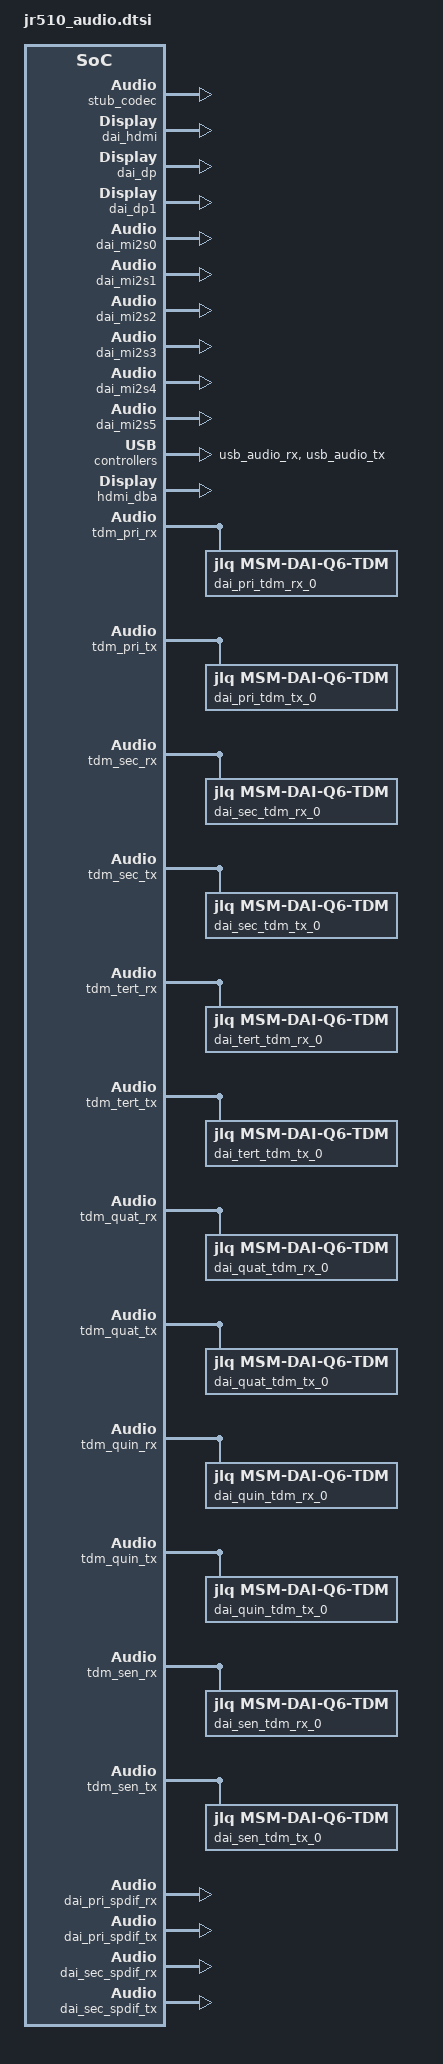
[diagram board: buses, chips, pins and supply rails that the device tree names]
&soc {
	clkout3_clk: clkout3_clk {
		status = "disabled";
		compatible = "jlq,clk-gate";
		#clock-cells = <0>;
		//clocks = <&clkout3_srcmux>;
		//jlq,clkgt = <DDRPWR_COMPONENT_CLKEN2
		//	PWR_BIT_SFT(8) PWR_WEBIT_DEF(8)>;
		//set_rate_parent;
		//clock-output-names = "clkout3_clk";
	};

	bolero: bolero-cdc {
		compatible = "jlq,bolero-codec";
		status = "disabled";
		jlq,num-macros = <3>;
		jlq,bolero-version = <5>;
		#address-cells = <2>;
		#size-cells = <0>;
		bolero-clk-rsc-mngr {
			compatible = "jlq,bolero-clk-rsc-mngr";
			jlq,fs-gen-sequence = <0x3000 0x1>,
						<0x3004 0x1>, <0x3080 0x2>;
			clock-names = "tx_core_clk", "tx_npl_clk", "rx_core_clk", "rx_npl_clk",
				"va_core_clk", "va_npl_clk";
			clocks = <&clkout3_clk>, <&clkout3_clk>,
				<&clkout3_clk>, <&clkout3_clk>,
				<&clkout3_clk>, <&clkout3_clk>;
		};

		tx_macro: tx-macro {
			compatible = "jlq,tx-macro";
			reg = <0x0 0x42000000>;
			clock-names = "tx_core_clk", "tx_npl_clk";
			clocks = <&clkout3_clk>,
				 <&clkout3_clk>;
			jlq,tx-dmic-sample-rate = <2400000>;
			jlq,is-used-swr-gpio = <0>;
		};

		rx_macro: rx-macro {
			compatible = "jlq,rx-macro";
			reg = <0x0 0x42000000>;
			clock-names = "rx_core_clk", "rx_npl_clk";
			clocks = <&clkout3_clk>,
				 <&clkout3_clk>;
			jlq,rx-swr-gpios = <&gpio 12 0>;
			jlq,rx_mclk_mode_muxsel = <04210000>;
			jlq,rx-bcl-pmic-params = /bits/ 8 <0x00 0x04 0x3E>;
			jlq,default-clk-id = <1>;
			swr1: rx_swr_master {
				compatible = "jlq,swr-mstr";
				#address-cells = <2>;
				#size-cells = <0>;
				clock-names = "lpass_audio_hw_vote";
				clocks = <&clkout3_clk>;
				jlq,swr_master_id = <2>;
				jlq,swrm-hctl-reg = <0x04210004>;
				jlq,mipi-sdw-block-packing-mode = <1>;
				swrm-io-base = <0x04210008 0x0>;
				//interrupt-parent = <&top_mailbox_irq>;
				interrupts = <8 0>;
				interrupt-names = "swr_master_irq";
				jlq,swr-num-ports = <5>;
				jlq,swr-num-dev = <1>;
				jlq,swr-clock-stop-mode0 = <1>;
				wcd937x_rx_slave: wcd937x-rx-slave {
					compatible = "jlq,wcd937x-slave";
					reg = <0x04210008 0x0421000c>;
				};
			};
		};

		va_macro: va-macro@ {
			compatible = "jlq,va-macro";
			reg = <0x0 0x42000000>;
			clock-names = "lpass_audio_hw_vote";
			clocks = <&clkout3_clk>;
			jlq,va-dmic-sample-rate = <600000>;
			jlq,va-clk-mux-select = <1>;
			jlq,va-island-mode-muxsel = <0x0a7a0000>;
			jlq,default-clk-id = <1>;
			jlq,is-used-swr-gpio = <1>;
			jlq,va-swr-gpios = <&gpio 12 0>;
			swr0: va_swr_master {
				compatible = "jlq,swr-mstr";
				#address-cells = <2>;
				#size-cells = <0>;
				clock-names = "lpass_audio_hw_vote";
				clocks = <&clkout3_clk>;
				jlq,swr_master_id = <3>;
				jlq,swrm-hctl-reg = <0x0a7ec100>;
				jlq,mipi-sdw-block-packing-mode = <1>;
				swrm-io-base = <0xa740000 0x0>;
				//interrupt-parent = <&top_mailbox_irq>;
				interrupts = <9 0>, <10 0>;
				interrupt-names = "swr_master_irq", "swr_wake_irq";
				jlq,swr-wakeup-required = <1>;
				jlq,swr-num-ports = <3>;
				jlq,swr-num-dev = <1>;
				jlq,swr-clock-stop-mode0 = <1>;
				jlq,swr-mstr-irq-wakeup-capable = <1>;
				wcd937x_tx_slave: wcd937x-tx-slave {
					compatible = "jlq,wcd937x-slave";
					reg = <0x0A 0x01170223>;
				};
			};
		};

		wcd937x_codec: wcd937x-codec {
			compatible = "jlq,wcd937x-codec";
			jlq,split-codec = <1>;

			jlq,wcd-rst-gpio-node = <&gpio 12 0>;
			jlq,rx-slave = <&wcd937x_rx_slave>;
			jlq,tx-slave = <&wcd937x_tx_slave>;

			//cdc-vdd-rxtx-supply = <&L9A>;
			jlq,cdc-vdd-rxtx-voltage = <1800000 1800000>;
			jlq,cdc-vdd-rxtx-current = <10000>;

			//cdc-vddpx-supply = <&L9A>;
			jlq,cdc-vddpx-voltage = <1800000 1800000>;
			jlq,cdc-vddpx-current = <20000>;

			//cdc-vdd-buck-supply = <&L14A>;
			jlq,cdc-vdd-buck-voltage = <1800000 1800000>;
			jlq,cdc-vdd-buck-current = <650000>;

			jlq,cdc-micbias1-mv = <1800>;
			jlq,cdc-micbias2-mv = <1800>;
			jlq,cdc-micbias3-mv = <1800>;

			jlq,cdc-static-supplies = "cdc-vdd-rxtx",
						   "cdc-vddpx";
			jlq,cdc-on-demand-supplies = "cdc-vdd-buck";
		};
	};

	pcm0: jlq,msm-pcm {
		compatible = "jlq,msm-pcm-dsp";
		jlq,msm-pcm-dsp-id = <0>;
	};

	routing: jlq,msm-pcm-routing {
		compatible = "jlq,msm-pcm-routing";
	};

	compr: jlq,msm-compr-dsp {
		compatible = "jlq,msm-compr-dsp";
	};

	pcm1: jlq,msm-pcm-low-latency {
		compatible = "jlq,msm-pcm-dsp";
		jlq,msm-pcm-dsp-id = <1>;
		jlq,msm-pcm-low-latency;
		jlq,latency-level = "regular";
	};

	pcm2: jlq,msm-ultra-low-latency {
		compatible = "jlq,msm-pcm-dsp";
		jlq,msm-pcm-dsp-id = <2>;
		jlq,msm-pcm-low-latency;
		jlq,latency-level = "ultra";
	};

	pcm_noirq: jlq,msm-pcm-dsp-noirq {
		compatible = "jlq,msm-pcm-dsp-noirq";
		jlq,msm-pcm-low-latency;
		jlq,latency-level = "ultra";
	};

	trans_loopback: jlq,msm-transcode-loopback {
		compatible = "jlq,msm-transcode-loopback";
	};

	compress: jlq,msm-compress-dsp {
		compatible = "jlq,msm-compress-dsp";
	};

	voip: jlq,msm-voip-dsp {
		compatible = "jlq,msm-voip-dsp";
	};

	voice: jlq,msm-pcm-voice {
		compatible = "jlq,msm-pcm-voice";
		jlq,destroy-cvd;
	};

	stub_codec: jlq,msm-stub-codec {
		compatible = "jlq,msm-stub-codec";
	};

	jlq,msm-dai-fe {
		compatible = "jlq,msm-dai-fe";
	};

	afe: jlq,msm-pcm-afe {
		compatible = "jlq,msm-pcm-afe";
	};

	dai_hdmi: jlq,msm-dai-q6-hdmi {
		compatible = "jlq,msm-dai-q6-hdmi";
		jlq,msm-dai-q6-dev-id = <8>;
	};

	dai_dp: jlq,msm-dai-q6-dp {
		compatible = "jlq,msm-dai-q6-hdmi";
		jlq,msm-dai-q6-dev-id = <0>;
	};

	dai_dp1: jlq,msm-dai-q6-dp1 {
		compatible = "jlq,msm-dai-q6-hdmi";
		jlq,msm-dai-q6-dev-id = <1>;
	};

	loopback: jlq,msm-pcm-loopback {
		compatible = "jlq,msm-pcm-loopback";
	};

	loopback1: jlq,msm-pcm-loopback-low-latency {
		compatible = "jlq,msm-pcm-loopback";
		jlq,msm-pcm-loopback-low-latency;
	};

	pcm_dtmf: jlq,msm-pcm-dtmf {
		compatible = "jlq,msm-pcm-dtmf";
	};

	msm_dai_mi2s: jlq,msm-dai-mi2s {
		compatible = "jlq,msm-dai-mi2s";
		dai_mi2s0: jlq,msm-dai-q6-mi2s-prim {
			compatible = "jlq,msm-dai-q6-mi2s";
			jlq,msm-dai-q6-mi2s-dev-id = <0>;
			jlq,msm-mi2s-rx-lines = <3>;
			jlq,msm-mi2s-tx-lines = <0>;
		};

		dai_mi2s1: jlq,msm-dai-q6-mi2s-sec {
			compatible = "jlq,msm-dai-q6-mi2s";
			jlq,msm-dai-q6-mi2s-dev-id = <1>;
			jlq,msm-mi2s-rx-lines = <1>;
			jlq,msm-mi2s-tx-lines = <0>;
		};

		dai_mi2s2: jlq,msm-dai-q6-mi2s-tert {
			compatible = "jlq,msm-dai-q6-mi2s";
			jlq,msm-dai-q6-mi2s-dev-id = <2>;
			jlq,msm-mi2s-rx-lines = <0>;
			jlq,msm-mi2s-tx-lines = <3>;
		};

		dai_mi2s3: jlq,msm-dai-q6-mi2s-quat {
			compatible = "jlq,msm-dai-q6-mi2s";
			jlq,msm-dai-q6-mi2s-dev-id = <3>;
			jlq,msm-mi2s-rx-lines = <1>;
			jlq,msm-mi2s-tx-lines = <2>;
		};

		dai_mi2s4: jlq,msm-dai-q6-mi2s-quin {
			compatible = "jlq,msm-dai-q6-mi2s";
			jlq,msm-dai-q6-mi2s-dev-id = <4>;
			jlq,msm-mi2s-rx-lines = <1>;
			jlq,msm-mi2s-tx-lines = <2>;
		};

		dai_mi2s5: jlq,msm-dai-q6-mi2s-senary {
			compatible = "jlq,msm-dai-q6-mi2s";
			jlq,msm-dai-q6-mi2s-dev-id = <5>;
			jlq,msm-mi2s-rx-lines = <0>;
			jlq,msm-mi2s-tx-lines = <3>;
		};
	};

	msm_dai_cdc_dma: jlq,msm-dai-cdc-dma {
		compatible = "jlq,msm-dai-cdc-dma";
		wsa_cdc_dma_0_rx: jlq,msm-dai-wsa-cdc-dma-0-rx {
			compatible = "jlq,msm-dai-cdc-dma-dev";
			jlq,msm-dai-cdc-dma-dev-id = <45056>;
		};

		wsa_cdc_dma_0_tx: jlq,msm-dai-wsa-cdc-dma-0-tx {
			compatible = "jlq,msm-dai-cdc-dma-dev";
			jlq,msm-dai-cdc-dma-dev-id = <45057>;
		};

		wsa_cdc_dma_1_rx: jlq,msm-dai-wsa-cdc-dma-1-rx {
			compatible = "jlq,msm-dai-cdc-dma-dev";
			jlq,msm-dai-cdc-dma-dev-id = <45058>;
		};

		wsa_cdc_dma_1_tx: jlq,msm-dai-wsa-cdc-dma-1-tx {
			compatible = "jlq,msm-dai-cdc-dma-dev";
			jlq,msm-dai-cdc-dma-dev-id = <45059>;
		};

		wsa_cdc_dma_2_tx: jlq,msm-dai-wsa-cdc-dma-2-tx {
			compatible = "jlq,msm-dai-cdc-dma-dev";
			jlq,msm-dai-cdc-dma-dev-id = <45061>;
		};

		va_cdc_dma_0_tx: jlq,msm-dai-va-cdc-dma-0-tx {
			compatible = "jlq,msm-dai-cdc-dma-dev";
			jlq,msm-dai-cdc-dma-dev-id = <45089>;
		};

		va_cdc_dma_1_tx: jlq,msm-dai-va-cdc-dma-1-tx {
			compatible = "jlq,msm-dai-cdc-dma-dev";
			jlq,msm-dai-cdc-dma-dev-id = <45091>;
		};

		va_cdc_dma_2_tx: jlq,msm-dai-va-cdc-dma-2-tx {
			compatible = "jlq,msm-dai-cdc-dma-dev";
			jlq,msm-dai-cdc-dma-dev-id = <45093>;
		};

		rx_cdc_dma_0_rx: jlq,msm-dai-rx-cdc-dma-0-rx {
			compatible = "jlq,msm-dai-cdc-dma-dev";
			jlq,msm-dai-cdc-dma-dev-id = <45104>;
		};

		rx_cdc_dma_1_rx: jlq,msm-dai-rx-cdc-dma-1-rx {
			compatible = "jlq,msm-dai-cdc-dma-dev";
			jlq,msm-dai-cdc-dma-dev-id = <45106>;
		};

		rx_cdc_dma_2_rx: jlq,msm-dai-rx-cdc-dma-2-rx {
			compatible = "jlq,msm-dai-cdc-dma-dev";
			jlq,msm-dai-cdc-dma-dev-id = <45108>;
		};

		rx_cdc_dma_3_rx: jlq,msm-dai-rx-cdc-dma-3-rx {
			compatible = "jlq,msm-dai-cdc-dma-dev";
			jlq,msm-dai-cdc-dma-dev-id = <45110>;
		};

		rx_cdc_dma_4_rx: jlq,msm-dai-rx-cdc-dma-4-rx {
			compatible = "jlq,msm-dai-cdc-dma-dev";
			jlq,msm-dai-cdc-dma-dev-id = <45112>;
		};

		rx_cdc_dma_5_rx: jlq,msm-dai-rx-cdc-dma-5-rx {
			compatible = "jlq,msm-dai-cdc-dma-dev";
			jlq,msm-dai-cdc-dma-dev-id = <45114>;
		};

		rx_cdc_dma_6_rx: jlq,msm-dai-rx-cdc-dma-6-rx {
			compatible = "jlq,msm-dai-cdc-dma-dev";
			jlq,msm-dai-cdc-dma-dev-id = <45116>;
		};

		rx_cdc_dma_7_rx: jlq,msm-dai-rx-cdc-dma-7-rx {
			compatible = "jlq,msm-dai-cdc-dma-dev";
			jlq,msm-dai-cdc-dma-dev-id = <45118>;
		};

		tx_cdc_dma_0_tx: jlq,msm-dai-tx-cdc-dma-0-tx {
			compatible = "jlq,msm-dai-cdc-dma-dev";
			jlq,msm-dai-cdc-dma-dev-id = <45105>;
		};

		tx_cdc_dma_1_tx: jlq,msm-dai-tx-cdc-dma-1-tx {
			compatible = "jlq,msm-dai-cdc-dma-dev";
			jlq,msm-dai-cdc-dma-dev-id = <45107>;
		};

		tx_cdc_dma_2_tx: jlq,msm-dai-tx-cdc-dma-2-tx {
			compatible = "jlq,msm-dai-cdc-dma-dev";
			jlq,msm-dai-cdc-dma-dev-id = <45109>;
		};

		tx_cdc_dma_3_tx: jlq,msm-dai-tx-cdc-dma-3-tx {
			compatible = "jlq,msm-dai-cdc-dma-dev";
			jlq,msm-dai-cdc-dma-dev-id = <45111>;
		};

		tx_cdc_dma_4_tx: jlq,msm-dai-tx-cdc-dma-4-tx {
			compatible = "jlq,msm-dai-cdc-dma-dev";
			jlq,msm-dai-cdc-dma-dev-id = <45113>;
		};

		tx_cdc_dma_5_tx: jlq,msm-dai-tx-cdc-dma-5-tx {
			compatible = "jlq,msm-dai-cdc-dma-dev";
			jlq,msm-dai-cdc-dma-dev-id = <45115>;
		};
	};

	lsm: jlq,msm-lsm-client {
		compatible = "jlq,msm-lsm-client";
	};

	jlq,msm-dai-q6 {
		compatible = "jlq,msm-dai-q6";
		sb_7_rx: jlq,msm-dai-q6-sb-7-rx {
			compatible = "jlq,msm-dai-q6-dev";
			jlq,msm-dai-q6-dev-id = <16398>;
			jlq,msm-dai-q6-slim-dev-id = <0>;
		};

		sb_7_tx: jlq,msm-dai-q6-sb-7-tx {
			compatible = "jlq,msm-dai-q6-dev";
			jlq,msm-dai-q6-dev-id = <16399>;
			jlq,msm-dai-q6-slim-dev-id = <0>;
		};

		sb_8_tx: jlq,msm-dai-q6-sb-8-tx {
			compatible = "jlq,msm-dai-q6-dev";
			jlq,msm-dai-q6-dev-id = <16401>;
			jlq,msm-dai-q6-slim-dev-id = <0>;
		};

		bt_sco_rx: jlq,msm-dai-q6-bt-sco-rx {
			compatible = "jlq,msm-dai-q6-dev";
			jlq,msm-dai-q6-dev-id = <12288>;
		};

		bt_sco_tx: jlq,msm-dai-q6-bt-sco-tx {
			compatible = "jlq,msm-dai-q6-dev";
			jlq,msm-dai-q6-dev-id = <12289>;
		};

		int_fm_rx: jlq,msm-dai-q6-int-fm-rx {
			compatible = "jlq,msm-dai-q6-dev";
			jlq,msm-dai-q6-dev-id = <12292>;
		};

		int_fm_tx: jlq,msm-dai-q6-int-fm-tx {
			compatible = "jlq,msm-dai-q6-dev";
			jlq,msm-dai-q6-dev-id = <12293>;
		};

		afe_pcm_rx: jlq,msm-dai-q6-be-afe-pcm-rx {
			compatible = "jlq,msm-dai-q6-dev";
			jlq,msm-dai-q6-dev-id = <224>;
		};

		afe_pcm_tx: jlq,msm-dai-q6-be-afe-pcm-tx {
			compatible = "jlq,msm-dai-q6-dev";
			jlq,msm-dai-q6-dev-id = <225>;
		};

		afe_proxy_rx: jlq,msm-dai-q6-afe-proxy-rx {
			compatible = "jlq,msm-dai-q6-dev";
			jlq,msm-dai-q6-dev-id = <241>;
		};

		afe_proxy_tx: jlq,msm-dai-q6-afe-proxy-tx {
			compatible = "jlq,msm-dai-q6-dev";
			jlq,msm-dai-q6-dev-id = <240>;
		};

		incall_record_rx: jlq,msm-dai-q6-incall-record-rx {
			compatible = "jlq,msm-dai-q6-dev";
			jlq,msm-dai-q6-dev-id = <32771>;
		};

		incall_record_tx: jlq,msm-dai-q6-incall-record-tx {
			compatible = "jlq,msm-dai-q6-dev";
			jlq,msm-dai-q6-dev-id = <32772>;
		};

		incall_music_rx: jlq,msm-dai-q6-incall-music-rx {
			compatible = "jlq,msm-dai-q6-dev";
			jlq,msm-dai-q6-dev-id = <32773>;
		};

		incall_music_2_rx: jlq,msm-dai-q6-incall-music-2-rx {
			compatible = "jlq,msm-dai-q6-dev";
			jlq,msm-dai-q6-dev-id = <32770>;
		};

		usb_audio_rx: jlq,msm-dai-q6-usb-audio-rx {
			compatible = "jlq,msm-dai-q6-dev";
			jlq,msm-dai-q6-dev-id = <28672>;
		};

		usb_audio_tx: jlq,msm-dai-q6-usb-audio-tx {
			compatible = "jlq,msm-dai-q6-dev";
			jlq,msm-dai-q6-dev-id = <28673>;
		};
	};

	hostless: jlq,msm-pcm-hostless {
		compatible = "jlq,msm-pcm-hostless";
	};

	audio_apr: jlq,msm-audio-apr {
		compatible = "jlq,msm-audio-apr";
		jlq,subsys-name = "apr_adsp";
	};

	msm_audio_ion: jlq,msm-audio-ion {
		compatible = "jlq,msm-audio-ion";
		jlq,smmu-version = <2>;
		jlq,smmu-enabled;
	};

	dai_pri_auxpcm: jlq,msm-pri-auxpcm {
		compatible = "jlq,msm-auxpcm-dev";
		jlq,msm-cpudai-auxpcm-mode = <0>, <0>;
		jlq,msm-cpudai-auxpcm-sync = <1>, <1>;
		jlq,msm-cpudai-auxpcm-frame = <5>, <4>;
		jlq,msm-cpudai-auxpcm-quant = <2>, <2>;
		jlq,msm-cpudai-auxpcm-num-slots = <1>, <1>;
		jlq,msm-cpudai-auxpcm-slot-mapping = <1>, <1>;
		jlq,msm-cpudai-auxpcm-data = <0>, <0>;
		jlq,msm-cpudai-auxpcm-pcm-clk-rate = <2048000>, <2048000>;
		jlq,msm-auxpcm-interface = "primary";
		jlq,msm-cpudai-afe-clk-ver = <2>;
	};

	dai_sec_auxpcm: jlq,msm-sec-auxpcm {
		compatible = "jlq,msm-auxpcm-dev";
		jlq,msm-cpudai-auxpcm-mode = <0>, <0>;
		jlq,msm-cpudai-auxpcm-sync = <1>, <1>;
		jlq,msm-cpudai-auxpcm-frame = <5>, <4>;
		jlq,msm-cpudai-auxpcm-quant = <2>, <2>;
		jlq,msm-cpudai-auxpcm-num-slots = <1>, <1>;
		jlq,msm-cpudai-auxpcm-slot-mapping = <1>, <1>;
		jlq,msm-cpudai-auxpcm-data = <0>, <0>;
		jlq,msm-cpudai-auxpcm-pcm-clk-rate = <2048000>, <2048000>;
		jlq,msm-auxpcm-interface = "secondary";
		jlq,msm-cpudai-afe-clk-ver = <2>;
	};

	dai_tert_auxpcm: jlq,msm-tert-auxpcm {
		compatible = "jlq,msm-auxpcm-dev";
		jlq,msm-cpudai-auxpcm-mode = <0>, <0>;
		jlq,msm-cpudai-auxpcm-sync = <1>, <1>;
		jlq,msm-cpudai-auxpcm-frame = <5>, <4>;
		jlq,msm-cpudai-auxpcm-quant = <2>, <2>;
		jlq,msm-cpudai-auxpcm-num-slots = <1>, <1>;
		jlq,msm-cpudai-auxpcm-slot-mapping = <1>, <1>;
		jlq,msm-cpudai-auxpcm-data = <0>, <0>;
		jlq,msm-cpudai-auxpcm-pcm-clk-rate = <2048000>, <2048000>;
		jlq,msm-auxpcm-interface = "tertiary";
		jlq,msm-cpudai-afe-clk-ver = <2>;
	};

	dai_quat_auxpcm: jlq,msm-quat-auxpcm {
		compatible = "jlq,msm-auxpcm-dev";
		jlq,msm-cpudai-auxpcm-mode = <0>, <0>;
		jlq,msm-cpudai-auxpcm-sync = <1>, <1>;
		jlq,msm-cpudai-auxpcm-frame = <5>, <4>;
		jlq,msm-cpudai-auxpcm-quant = <2>, <2>;
		jlq,msm-cpudai-auxpcm-num-slots = <1>, <1>;
		jlq,msm-cpudai-auxpcm-slot-mapping = <1>, <1>;
		jlq,msm-cpudai-auxpcm-data = <0>, <0>;
		jlq,msm-cpudai-auxpcm-pcm-clk-rate = <2048000>, <2048000>;
		jlq,msm-auxpcm-interface = "quaternary";
		jlq,msm-cpudai-afe-clk-ver = <2>;
	};

	dai_quin_auxpcm: jlq,msm-quin-auxpcm {
		compatible = "jlq,msm-auxpcm-dev";
		jlq,msm-cpudai-auxpcm-mode = <0>, <0>;
		jlq,msm-cpudai-auxpcm-sync = <1>, <1>;
		jlq,msm-cpudai-auxpcm-frame = <5>, <4>;
		jlq,msm-cpudai-auxpcm-quant = <2>, <2>;
		jlq,msm-cpudai-auxpcm-num-slots = <1>, <1>;
		jlq,msm-cpudai-auxpcm-slot-mapping = <1>, <1>;
		jlq,msm-cpudai-auxpcm-data = <0>, <0>;
		jlq,msm-cpudai-auxpcm-pcm-clk-rate = <2048000>, <2048000>;
		jlq,msm-auxpcm-interface = "quinary";
		jlq,msm-cpudai-afe-clk-ver = <2>;
	};

	dai_sen_auxpcm: jlq,msm-sen-auxpcm {
		compatible = "jlq,msm-auxpcm-dev";
		jlq,msm-cpudai-auxpcm-mode = <0>, <0>;
		jlq,msm-cpudai-auxpcm-sync = <1>, <1>;
		jlq,msm-cpudai-auxpcm-frame = <5>, <4>;
		jlq,msm-cpudai-auxpcm-quant = <2>, <2>;
		jlq,msm-cpudai-auxpcm-num-slots = <1>, <1>;
		jlq,msm-cpudai-auxpcm-slot-mapping = <1>, <1>;
		jlq,msm-cpudai-auxpcm-data = <0>, <0>;
		jlq,msm-cpudai-auxpcm-pcm-clk-rate = <2048000>, <2048000>;
		jlq,msm-auxpcm-interface = "senary";
		jlq,msm-cpudai-afe-clk-ver = <2>;
	};

	hdmi_dba: jlq,msm-hdmi-dba-codec-rx {
		compatible = "jlq,msm-hdmi-dba-codec-rx";
		jlq,dba-bridge-chip = "adv7533";
	};

	tdm_pri_rx: jlq,msm-dai-tdm-pri-rx {
		compatible = "jlq,msm-dai-tdm";
		jlq,msm-cpudai-tdm-group-id = <37120>;
		jlq,msm-cpudai-tdm-group-num-ports = <1>;
		jlq,msm-cpudai-tdm-group-port-id = <36864>;
		jlq,msm-cpudai-tdm-clk-rate = <1536000>;
		jlq,msm-cpudai-tdm-clk-internal = <1>;
		jlq,msm-cpudai-tdm-sync-mode = <1>;
		jlq,msm-cpudai-tdm-sync-src = <1>;
		jlq,msm-cpudai-tdm-data-out = <0>;
		jlq,msm-cpudai-tdm-invert-sync = <1>;
		jlq,msm-cpudai-tdm-data-delay = <1>;
		dai_pri_tdm_rx_0: jlq,msm-dai-q6-tdm-pri-rx-0 {
			compatible = "jlq,msm-dai-q6-tdm";
			jlq,msm-cpudai-tdm-dev-id = <36864>;
			jlq,msm-cpudai-tdm-data-align = <0>;
		};
	};

	tdm_pri_tx: jlq,msm-dai-tdm-pri-tx {
		compatible = "jlq,msm-dai-tdm";
		jlq,msm-cpudai-tdm-group-id = <37121>;
		jlq,msm-cpudai-tdm-group-num-ports = <1>;
		jlq,msm-cpudai-tdm-group-port-id = <36865>;
		jlq,msm-cpudai-tdm-clk-rate = <1536000>;
		jlq,msm-cpudai-tdm-clk-internal = <1>;
		jlq,msm-cpudai-tdm-sync-mode = <1>;
		jlq,msm-cpudai-tdm-sync-src = <1>;
		jlq,msm-cpudai-tdm-data-out = <0>;
		jlq,msm-cpudai-tdm-invert-sync = <1>;
		jlq,msm-cpudai-tdm-data-delay = <1>;
		dai_pri_tdm_tx_0: jlq,msm-dai-q6-tdm-pri-tx-0 {
			compatible = "jlq,msm-dai-q6-tdm";
			jlq,msm-cpudai-tdm-dev-id = <36865>;
			jlq,msm-cpudai-tdm-data-align = <0>;
		};
	};

	tdm_sec_rx: jlq,msm-dai-tdm-sec-rx {
		compatible = "jlq,msm-dai-tdm";
		jlq,msm-cpudai-tdm-group-id = <37136>;
		jlq,msm-cpudai-tdm-group-num-ports = <1>;
		jlq,msm-cpudai-tdm-group-port-id = <36880>;
		jlq,msm-cpudai-tdm-clk-rate = <1536000>;
		jlq,msm-cpudai-tdm-clk-internal = <1>;
		jlq,msm-cpudai-tdm-sync-mode = <1>;
		jlq,msm-cpudai-tdm-sync-src = <1>;
		jlq,msm-cpudai-tdm-data-out = <0>;
		jlq,msm-cpudai-tdm-invert-sync = <1>;
		jlq,msm-cpudai-tdm-data-delay = <1>;
		dai_sec_tdm_rx_0: jlq,msm-dai-q6-tdm-sec-rx-0 {
			compatible = "jlq,msm-dai-q6-tdm";
			jlq,msm-cpudai-tdm-dev-id = <36880>;
			jlq,msm-cpudai-tdm-data-align = <0>;
		};
	};

	tdm_sec_tx: jlq,msm-dai-tdm-sec-tx {
		compatible = "jlq,msm-dai-tdm";
		jlq,msm-cpudai-tdm-group-id = <37137>;
		jlq,msm-cpudai-tdm-group-num-ports = <1>;
		jlq,msm-cpudai-tdm-group-port-id = <36881>;
		jlq,msm-cpudai-tdm-clk-rate = <1536000>;
		jlq,msm-cpudai-tdm-clk-internal = <1>;
		jlq,msm-cpudai-tdm-sync-mode = <1>;
		jlq,msm-cpudai-tdm-sync-src = <1>;
		jlq,msm-cpudai-tdm-data-out = <0>;
		jlq,msm-cpudai-tdm-invert-sync = <1>;
		jlq,msm-cpudai-tdm-data-delay = <1>;
		dai_sec_tdm_tx_0: jlq,msm-dai-q6-tdm-sec-tx-0 {
			compatible = "jlq,msm-dai-q6-tdm";
			jlq,msm-cpudai-tdm-dev-id = <36881>;
			jlq,msm-cpudai-tdm-data-align = <0>;
		};
	};

	tdm_tert_rx: jlq,msm-dai-tdm-tert-rx {
		compatible = "jlq,msm-dai-tdm";
		jlq,msm-cpudai-tdm-group-id = <37152>;
		jlq,msm-cpudai-tdm-group-num-ports = <1>;
		jlq,msm-cpudai-tdm-group-port-id = <36896>;
		jlq,msm-cpudai-tdm-clk-rate = <1536000>;
		jlq,msm-cpudai-tdm-clk-internal = <1>;
		jlq,msm-cpudai-tdm-sync-mode = <1>;
		jlq,msm-cpudai-tdm-sync-src = <1>;
		jlq,msm-cpudai-tdm-data-out = <0>;
		jlq,msm-cpudai-tdm-invert-sync = <1>;
		jlq,msm-cpudai-tdm-data-delay = <1>;
		dai_tert_tdm_rx_0: jlq,msm-dai-q6-tdm-tert-rx-0 {
			compatible = "jlq,msm-dai-q6-tdm";
			jlq,msm-cpudai-tdm-dev-id = <36896>;
			jlq,msm-cpudai-tdm-data-align = <0>;
		};
	};

	tdm_tert_tx: jlq,msm-dai-tdm-tert-tx {
		compatible = "jlq,msm-dai-tdm";
		jlq,msm-cpudai-tdm-group-id = <37153>;
		jlq,msm-cpudai-tdm-group-num-ports = <1>;
		jlq,msm-cpudai-tdm-group-port-id = <36897 >;
		jlq,msm-cpudai-tdm-clk-rate = <1536000>;
		jlq,msm-cpudai-tdm-clk-internal = <1>;
		jlq,msm-cpudai-tdm-sync-mode = <1>;
		jlq,msm-cpudai-tdm-sync-src = <1>;
		jlq,msm-cpudai-tdm-data-out = <0>;
		jlq,msm-cpudai-tdm-invert-sync = <1>;
		jlq,msm-cpudai-tdm-data-delay = <1>;
		dai_tert_tdm_tx_0: jlq,msm-dai-q6-tdm-tert-tx-0 {
			compatible = "jlq,msm-dai-q6-tdm";
			jlq,msm-cpudai-tdm-dev-id = <36897 >;
			jlq,msm-cpudai-tdm-data-align = <0>;
		};
	};

	tdm_quat_rx: jlq,msm-dai-tdm-quat-rx {
		compatible = "jlq,msm-dai-tdm";
		jlq,msm-cpudai-tdm-group-id = <37168>;
		jlq,msm-cpudai-tdm-group-num-ports = <1>;
		jlq,msm-cpudai-tdm-group-port-id = <36912>;
		jlq,msm-cpudai-tdm-clk-rate = <1536000>;
		jlq,msm-cpudai-tdm-clk-internal = <1>;
		jlq,msm-cpudai-tdm-sync-mode = <1>;
		jlq,msm-cpudai-tdm-sync-src = <1>;
		jlq,msm-cpudai-tdm-data-out = <0>;
		jlq,msm-cpudai-tdm-invert-sync = <1>;
		jlq,msm-cpudai-tdm-data-delay = <1>;
		dai_quat_tdm_rx_0: jlq,msm-dai-q6-tdm-quat-rx-0 {
			compatible = "jlq,msm-dai-q6-tdm";
			jlq,msm-cpudai-tdm-dev-id = <36912>;
			jlq,msm-cpudai-tdm-data-align = <0>;
		};
	};

	tdm_quat_tx: jlq,msm-dai-tdm-quat-tx {
		compatible = "jlq,msm-dai-tdm";
		jlq,msm-cpudai-tdm-group-id = <37169>;
		jlq,msm-cpudai-tdm-group-num-ports = <1>;
		jlq,msm-cpudai-tdm-group-port-id = <36913 >;
		jlq,msm-cpudai-tdm-clk-rate = <1536000>;
		jlq,msm-cpudai-tdm-clk-internal = <1>;
		jlq,msm-cpudai-tdm-sync-mode = <1>;
		jlq,msm-cpudai-tdm-sync-src = <1>;
		jlq,msm-cpudai-tdm-data-out = <0>;
		jlq,msm-cpudai-tdm-invert-sync = <1>;
		jlq,msm-cpudai-tdm-data-delay = <1>;
		dai_quat_tdm_tx_0: jlq,msm-dai-q6-tdm-quat-tx-0 {
			compatible = "jlq,msm-dai-q6-tdm";
			jlq,msm-cpudai-tdm-dev-id = <36913 >;
			jlq,msm-cpudai-tdm-data-align = <0>;
		};
	};

	tdm_quin_rx: jlq,msm-dai-tdm-quin-rx {
		compatible = "jlq,msm-dai-tdm";
		jlq,msm-cpudai-tdm-group-id = <37184>;
		jlq,msm-cpudai-tdm-group-num-ports = <1>;
		jlq,msm-cpudai-tdm-group-port-id = <36928>;
		jlq,msm-cpudai-tdm-clk-rate = <1536000>;
		jlq,msm-cpudai-tdm-clk-internal = <1>;
		jlq,msm-cpudai-tdm-sync-mode = <1>;
		jlq,msm-cpudai-tdm-sync-src = <1>;
		jlq,msm-cpudai-tdm-data-out = <0>;
		jlq,msm-cpudai-tdm-invert-sync = <1>;
		jlq,msm-cpudai-tdm-data-delay = <1>;
		dai_quin_tdm_rx_0: jlq,msm-dai-q6-tdm-quin-rx-0 {
			compatible = "jlq,msm-dai-q6-tdm";
			jlq,msm-cpudai-tdm-dev-id = <36928>;
			jlq,msm-cpudai-tdm-data-align = <0>;
		};
	};

	tdm_quin_tx: jlq,msm-dai-tdm-quin-tx {
		compatible = "jlq,msm-dai-tdm";
		jlq,msm-cpudai-tdm-group-id = <37185>;
		jlq,msm-cpudai-tdm-group-num-ports = <1>;
		jlq,msm-cpudai-tdm-group-port-id = <36929>;
		jlq,msm-cpudai-tdm-clk-rate = <1536000>;
		jlq,msm-cpudai-tdm-clk-internal = <1>;
		jlq,msm-cpudai-tdm-sync-mode = <1>;
		jlq,msm-cpudai-tdm-sync-src = <1>;
		jlq,msm-cpudai-tdm-data-out = <0>;
		jlq,msm-cpudai-tdm-invert-sync = <1>;
		jlq,msm-cpudai-tdm-data-delay = <1>;
		dai_quin_tdm_tx_0: jlq,msm-dai-q6-tdm-quin-tx-0 {
			compatible = "jlq,msm-dai-q6-tdm";
			jlq,msm-cpudai-tdm-dev-id = <36929>;
			jlq,msm-cpudai-tdm-data-align = <0>;
		};
	};

	tdm_sen_rx: jlq,msm-dai-tdm-sen-rx {
		compatible = "jlq,msm-dai-tdm";
		jlq,msm-cpudai-tdm-group-id = <37200>;
		jlq,msm-cpudai-tdm-group-num-ports = <1>;
		jlq,msm-cpudai-tdm-group-port-id = <36944>;
		jlq,msm-cpudai-tdm-clk-rate = <1536000>;
		jlq,msm-cpudai-tdm-clk-internal = <1>;
		jlq,msm-cpudai-tdm-sync-mode = <1>;
		jlq,msm-cpudai-tdm-sync-src = <1>;
		jlq,msm-cpudai-tdm-data-out = <0>;
		jlq,msm-cpudai-tdm-invert-sync = <1>;
		jlq,msm-cpudai-tdm-data-delay = <1>;
		dai_sen_tdm_rx_0: jlq,msm-dai-q6-tdm-sen-rx-0 {
			compatible = "jlq,msm-dai-q6-tdm";
			jlq,msm-cpudai-tdm-dev-id = <36944>;
			jlq,msm-cpudai-tdm-data-align = <0>;
		};
	};

	tdm_sen_tx: jlq,msm-dai-tdm-sen-tx {
		compatible = "jlq,msm-dai-tdm";
		jlq,msm-cpudai-tdm-group-id = <37201>;
		jlq,msm-cpudai-tdm-group-num-ports = <1>;
		jlq,msm-cpudai-tdm-group-port-id = <36945>;
		jlq,msm-cpudai-tdm-clk-rate = <1536000>;
		jlq,msm-cpudai-tdm-clk-internal = <1>;
		jlq,msm-cpudai-tdm-sync-mode = <1>;
		jlq,msm-cpudai-tdm-sync-src = <1>;
		jlq,msm-cpudai-tdm-data-out = <0>;
		jlq,msm-cpudai-tdm-invert-sync = <1>;
		jlq,msm-cpudai-tdm-data-delay = <1>;
		dai_sen_tdm_tx_0: jlq,msm-dai-q6-tdm-sen-tx-0 {
			compatible = "jlq,msm-dai-q6-tdm";
			jlq,msm-cpudai-tdm-dev-id = <36945>;
			jlq,msm-cpudai-tdm-data-align = <0>;
		};
	};

	dai_pri_spdif_rx: jlq,msm-dai-q6-spdif-pri-rx {
		compatible = "jlq,msm-dai-q6-spdif";
		jlq,msm-dai-q6-dev-id = <20480>;
	};

	dai_pri_spdif_tx: jlq,msm-dai-q6-spdif-pri-tx {
		compatible = "jlq,msm-dai-q6-spdif";
		jlq,msm-dai-q6-dev-id = <20481>;
	};

	dai_sec_spdif_rx: jlq,msm-dai-q6-spdif-sec-rx {
		compatible = "jlq,msm-dai-q6-spdif";
		jlq,msm-dai-q6-dev-id = <20482>;
	};

	dai_sec_spdif_tx: jlq,msm-dai-q6-spdif-sec-tx {
		compatible = "jlq,msm-dai-q6-spdif";
		jlq,msm-dai-q6-dev-id = <20483>;
	};

	afe_loopback_tx: jlq,msm-dai-q6-afe-loopback-tx {
		compatible = "jlq,msm-dai-q6-dev";
		jlq,msm-dai-q6-dev-id = <24577>;
	};

	voice_trigger: jlq,jlq-voice-trigger {
		compatible = "jlq,jlq-voice-trigger";
		wakeup_in_dsp = <0>;
		wakeup_i2s = <0>;
		recognition_i2s = <1>;
	};

	bengal_snd: sound {
		compatible = "jlq,bengal-asoc-snd";
		jlq,model = "bengal-asoc-snd";
		jlq,mi2s-audio-intf = <0>;
		jlq,auxpcm-audio-intf = <0>;
		jlq,tdm-audio-intf = <0>;
		jlq,wcn-btfm = <0>;
		jlq,afe-rxtx-lb = <0>;
		jlq,msm-mi2s-master = <1>, <1>, <1>, <1>;
		jlq,va-bolero-codec = <1>;
		jlq,rxtx-bolero-codec = <1>;
		jlq,msm-mbhc-hphl-swh = <1>;
		jlq,msm-mbhc-gnd-swh = <1>;
		jlq,cdc-dmic01-gpios = <0>;
		jlq,cdc-dmic23-gpios = <0>;
		jlq,wsa-max-devs = <0>;
		jlq,wsa-aux-dev-prefix = "SpkrMono";
		jlq,codec-max-aux-devs = <0>;
		jlq,codec-aux-devs = <&wcd937x_codec>;

		asoc-platform = <&pcm0>, <&pcm1>, <&pcm2>, <&voip>, <&voice>,
				<&loopback>, <&compress>, <&hostless>,
				<&afe>, <&lsm>, <&routing>, <&compr>,
				<&pcm_noirq>, <&voice_trigger>;
		asoc-platform-names = "msm-pcm-dsp.0", "msm-pcm-dsp.1",
				"msm-pcm-dsp.2", "msm-voip-dsp",
				"msm-pcm-voice", "msm-pcm-loopback",
				"msm-compress-dsp", "msm-pcm-hostless",
				"msm-pcm-afe", "msm-lsm-client",
				"msm-pcm-routing", "msm-compr-dsp",
				"msm-pcm-dsp-noirq", "jlq-voice-trigger";
		asoc-cpu = <&dai_mi2s0>, <&dai_mi2s1>,
				<&dai_mi2s2>, <&dai_mi2s3>,
				<&dai_pri_auxpcm>,
				<&dai_sec_auxpcm>, <&dai_tert_auxpcm>,
				<&dai_quat_auxpcm>,
				<&afe_pcm_rx>, <&afe_pcm_tx>, <&afe_proxy_rx>,
				<&afe_proxy_tx>, <&incall_record_rx>,
				<&incall_record_tx>, <&incall_music_rx>,
				<&incall_music_2_rx>,
				<&usb_audio_rx>, <&usb_audio_tx>,
				<&sb_7_rx>, <&sb_7_tx>, <&sb_8_tx>,
				<&dai_pri_tdm_rx_0>, <&dai_pri_tdm_tx_0>,
				<&dai_sec_tdm_rx_0>, <&dai_sec_tdm_tx_0>,
				<&dai_tert_tdm_rx_0>, <&dai_tert_tdm_tx_0>,
				<&dai_quat_tdm_rx_0>, <&dai_quat_tdm_tx_0>,
				<&va_cdc_dma_0_tx>, <&va_cdc_dma_1_tx>,
				<&va_cdc_dma_2_tx>,
				<&rx_cdc_dma_0_rx>, <&tx_cdc_dma_0_tx>,
				<&rx_cdc_dma_1_rx>, <&tx_cdc_dma_1_tx>,
				<&rx_cdc_dma_2_rx>, <&tx_cdc_dma_2_tx>,
				<&rx_cdc_dma_3_rx>, <&tx_cdc_dma_3_tx>,
				<&rx_cdc_dma_4_rx>, <&tx_cdc_dma_4_tx>,
				<&rx_cdc_dma_5_rx>, <&tx_cdc_dma_5_tx>,
				<&rx_cdc_dma_6_rx>, <&rx_cdc_dma_7_rx>,
				<&afe_loopback_tx>;
		asoc-cpu-names = "msm-dai-q6-mi2s.0", "msm-dai-q6-mi2s.1",
				"msm-dai-q6-mi2s.2", "msm-dai-q6-mi2s.3",
				"msm-dai-q6-auxpcm.1",
				"msm-dai-q6-auxpcm.2", "msm-dai-q6-auxpcm.3",
				"msm-dai-q6-auxpcm.4", "msm-dai-q6-dev.224",
				"msm-dai-q6-dev.225", "msm-dai-q6-dev.241",
				"msm-dai-q6-dev.240", "msm-dai-q6-dev.32771",
				"msm-dai-q6-dev.32772", "msm-dai-q6-dev.32773",
				"msm-dai-q6-dev.32770",
				"msm-dai-q6-dev.28672", "msm-dai-q6-dev.28673",
				"msm-dai-q6-dev.16398", "msm-dai-q6-dev.16399",
				"msm-dai-q6-dev.16401",
				"msm-dai-q6-tdm.36864", "msm-dai-q6-tdm.36865",
				"msm-dai-q6-tdm.36880", "msm-dai-q6-tdm.36881",
				"msm-dai-q6-tdm.36896", "msm-dai-q6-tdm.36897",
				"msm-dai-q6-tdm.36912", "msm-dai-q6-tdm.36913",
				"msm-dai-cdc-dma-dev.45089",
				"msm-dai-cdc-dma-dev.45091",
				"msm-dai-cdc-dma-dev.45093",
				"msm-dai-cdc-dma-dev.45104",
				"msm-dai-cdc-dma-dev.45105",
				"msm-dai-cdc-dma-dev.45106",
				"msm-dai-cdc-dma-dev.45107",
				"msm-dai-cdc-dma-dev.45108",
				"msm-dai-cdc-dma-dev.45109",
				"msm-dai-cdc-dma-dev.45110",
				"msm-dai-cdc-dma-dev.45111",
				"msm-dai-cdc-dma-dev.45112",
				"msm-dai-cdc-dma-dev.45113",
				"msm-dai-cdc-dma-dev.45114",
				"msm-dai-cdc-dma-dev.45115",
				"msm-dai-cdc-dma-dev.45116",
				"msm-dai-cdc-dma-dev.45118",
				"msm-dai-q6-dev.24577";
		asoc-codec  = <&stub_codec>, <&bolero>;
		asoc-codec-names = "msm-stub-codec.1", "bolero_codec";
	};

	jlq,voice-vector {
		compatible = "jlq,voice-vector";
	};
};
